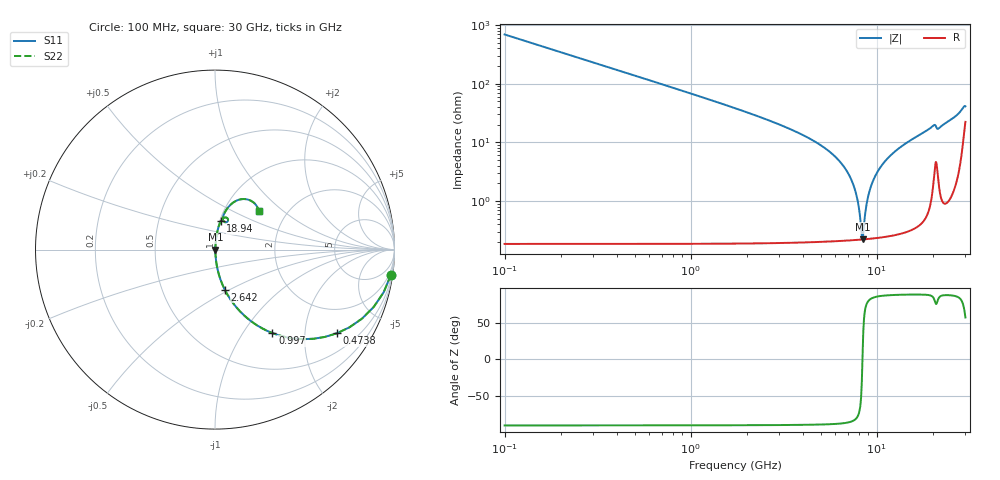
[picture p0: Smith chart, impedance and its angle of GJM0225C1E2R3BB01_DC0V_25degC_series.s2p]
!Murata Part Number: GJM0225C1E2R3BB01
!These Parameters are Measured in Series Mode Connection
!  o--ll--o
!Port1  Port2
!  o------o
!Operation Temp=25[degC], DC Bias Voltage=0[V]
!Freq. Start=100[MHz] Stop=30[GHz], 401[Steps]
!Data Generated on Feb 1, 2023
# Hz S RI R 50
!Freq.(Hz) S11(Real) S11(Imag) S21(Real) S21(Imag) S12(Real) S12(Imag) S22(Real) S22(Imag)
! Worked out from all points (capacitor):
!   401 points, 100 MHz to 30 GHz, reference 50 ohm
!   read as one part in series: C = 2.3 pF near 249.5 MHz
!   lowest |Z| = 221 mohm at 8.397 GHz (marker M1)
!   series resonance near 8.389 GHz, so ESL is about 160 pH
!   S11 on the Smith chart (normalised r, x): 100 MHz: 1, -14; 473.8 MHz: 1.00, -2.91; 997 MHz: 1.00, -1.37; 2.642 GHz: 1.00, -0.47; 18.94 GHz: 1.01, +0.33; 30 GHz: 1.45, +0.69
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1e8  0.9795 -0.1416  0.0205 0.1416  0.0205 0.1416  0.9795 -0.1416
4.7375e8  0.6793 -0.4661  0.3207 0.4661  0.3207 0.4661  0.6793 -0.4661
9.97e8  0.3194 -0.4649  0.6806 0.4649  0.6806 0.4649  0.3194 -0.4649
1.595e9  0.15 -0.3549  0.85 0.3549  0.85 0.3549  0.15 -0.3549
2.6415e9  0.0544 -0.2229  0.9456 0.2229  0.9456 0.2229  0.0544 -0.2229
5.10825e9  0.00922 -0.0845  0.9908 0.0845  0.9908 0.0845  0.00922 -0.0845
6.45375e9  0.004 -0.0437  0.996 0.0437  0.996 0.0437  0.004 -0.0437
7.35075e9  0.00261 -0.0219  0.9974 0.0219  0.9974 0.0219  0.00261 -0.0219
7.874e9  0.00227 -0.0105  0.9977 0.0105  0.9977 0.0105  0.00227 -0.0105
8.24775e9  0.0022 -0.00281  0.9978 0.00281  0.9978 0.00281  0.0022 -0.00281
8.39725e9  0.0022 0.000161  0.9978 -0.000161  0.9978 -0.000161  0.0022 0.000161
8.84575e9  0.00231 0.0088  0.9977 -0.0088  0.9977 -0.0088  0.00231 0.0088
9.07e9  0.00242 0.013  0.9976 -0.013  0.9976 -0.013  0.00242 0.013
1.01165e10  0.00332 0.0313  0.9967 -0.0313  0.9967 -0.0313  0.00332 0.0313
1.198525e10  0.00626 0.0608  0.9937 -0.0608  0.9937 -0.0608  0.00626 0.0608
1.505e10  0.0141 0.1043  0.9859 -0.1043  0.9859 -0.1043  0.0141 0.1043
1.8937e10  0.0324 0.1588  0.9676 -0.1588  0.9676 -0.1588  0.0324 0.1588
2.005825e10  0.0492 0.1771  0.9508 -0.1771  0.9508 -0.1771  0.0492 0.1771
2.1329e10  0.0515 0.1548  0.9485 -0.1548  0.9485 -0.1548  0.0515 0.1548
2.50665e10  0.0657 0.2253  0.9343 -0.2253  0.9343 -0.2253  0.0657 0.2253
2.8804e10  0.1626 0.2817  0.8374 -0.2817  0.8374 -0.2817  0.1626 0.2817
3e10  0.2433 0.2144  0.7567 -0.2144  0.7567 -0.2144  0.2433 0.2144
